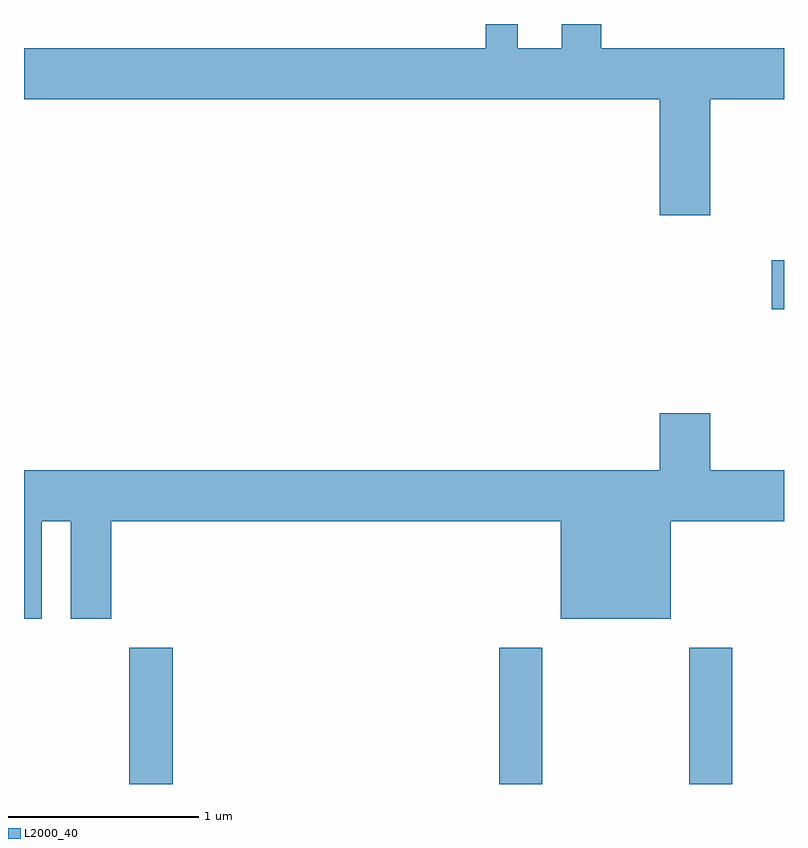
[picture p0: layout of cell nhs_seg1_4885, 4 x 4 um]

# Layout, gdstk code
import gdstk
lib = gdstk.Library(unit=1e-6, precision=1e-09)
def R(c, l, rs):  # rectangles x0, y0, x1, y1
    for r in rs: c.add(gdstk.rectangle(r[:2], r[2:], *l))
def P(c, l, *ps):  # polygons
    for p in ps: c.add(gdstk.Polygon(p, *l))
L2000_40 = (2000, 40)

nhs_seg1_4885 = lib.new_cell('nhs_seg1_4885')
R(nhs_seg1_4885, L2000_40, [(332.166,933.712,332.394,934.429), (334.111,933.712,334.339,934.429), (335.111,933.712,335.339,934.429), (335.546,936.211,335.611,936.469)])
P(nhs_seg1_4885, L2000_40, [(334.041,937.712),(334.041,937.584),(331.611,937.584),(331.611,937.316),(334.956,937.316),(334.956,936.706),(335.224,936.706),(335.224,937.316),(335.611,937.316),(335.611,937.584),(334.649,937.584),(334.649,937.712),(334.441,937.712),(334.441,937.584),(334.209,937.584),(334.209,937.712)],
  [(331.704,935.096),(331.856,935.096),(331.856,934.581),(332.069,934.581),(332.069,935.096),(334.436,935.096),(334.436,934.581),(335.014,934.581),(335.014,935.096),(335.611,935.096),(335.611,935.364),(335.224,935.364),(335.224,935.664),(334.956,935.664),(334.956,935.364),(331.611,935.364),(331.611,934.581),(331.704,934.581)])

lib.write_gds('nhs_seg1_4885.gds')
